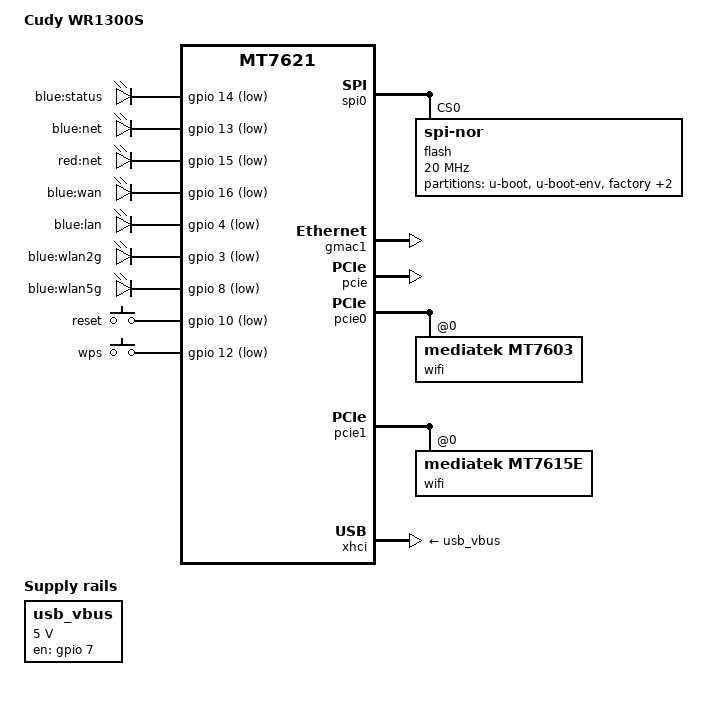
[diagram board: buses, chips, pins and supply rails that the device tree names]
/dts-v1/;

#include "mt7621.dtsi"
#include <dt-bindings/gpio/gpio.h>
#include <dt-bindings/input/input.h>

/ {
	compatible = "cudy,wr1300s", "mediatek,mt7621-soc";
	model = "Cudy WR1300S";

	aliases {
		led-boot = &led_status;
		led-failsafe = &led_status;
		led-running = &led_status;
		led-upgrade = &led_status;
	};

	leds {
		compatible = "gpio-leds";

		led_status: status {
			label = "blue:status";
			default-state = "on";
			gpios = <&gpio 14 GPIO_ACTIVE_LOW>;
		};

		net_blue {
			label = "blue:net";
			gpios = <&gpio 13 GPIO_ACTIVE_LOW>;
		};

		net_red {
			label = "red:net";
			gpios = <&gpio 15 GPIO_ACTIVE_LOW>;
		};

		wan {
			label = "blue:wan";
			gpios = <&gpio 16 GPIO_ACTIVE_LOW>;
		};

		lan {
			label = "blue:lan";
			gpios = <&gpio 4 GPIO_ACTIVE_LOW>;
		};

		wlan2g {
			label = "blue:wlan2g";
			gpios = <&gpio 3 GPIO_ACTIVE_LOW>;
			linux,default-trigger = "phy0tpt";
		};

		wlan5g {
			label = "blue:wlan5g";
			gpios = <&gpio 8 GPIO_ACTIVE_LOW>;
			linux,default-trigger = "phy1tpt";
		};
	};

	keys {
		compatible = "gpio-keys";

		reset {
			label = "reset";
			gpios = <&gpio 10 GPIO_ACTIVE_LOW>;
			linux,code = <KEY_RESTART>;
		};

		wps {
			label = "wps";
			gpios = <&gpio 12 GPIO_ACTIVE_LOW>;
			linux,code = <KEY_WPS_BUTTON>;
		};
	};

	usb_vbus: regulator {
		compatible = "regulator-fixed";
		regulator-name = "usb_vbus";
		regulator-min-microvolt = <5000000>;
		regulator-max-microvolt = <5000000>;
		gpio = <&gpio 7 GPIO_ACTIVE_HIGH>;
		enable-active-high;
	};
};

&spi0 {
	status = "okay";

	flash@0 {
		compatible = "jedec,spi-nor";
		reg = <0>;
		spi-max-frequency = <20000000>;

		partitions {
			compatible = "fixed-partitions";
			#address-cells = <1>;
			#size-cells = <1>;

			partition@0 {
				label = "u-boot";
				reg = <0x000000 0x030000>;
				read-only;
			};

			partition@30000 {
				label = "u-boot-env";
				reg = <0x030000 0x010000>;
				read-only;
			};

			factory: partition@40000 {
				label = "factory";
				reg = <0x040000 0x010000>;
				read-only;
			};

			partition@50000 {
				compatible = "denx,uimage";
				label = "firmware";
				reg = <0x050000 0xfa0000>;
			};

			bdinfo: partition@ff0000 {
				label = "bdinfo";
				reg = <0xff0000 0x010000>;
				read-only;
				compatible = "nvmem-cells";
				#address-cells = <1>;
				#size-cells = <1>;

				macaddr_base: macaddr@de00 {
					reg = <0xde00 0x6>;
				};
			};
		};
	};
};

&gmac0 {
	nvmem-cells = <&macaddr_base>;
	nvmem-cell-names = "mac-address";
};

&gmac1 {
	status = "okay";
	nvmem-cells = <&macaddr_base>;
	nvmem-cell-names = "mac-address";
	mac-address-increment = <1>;
};

&switch0 {
	ports {
		port@0 {
			status = "okay";
			label = "wan";
		};

		port@1 {
			status = "okay";
			label = "lan1";
		};

		port@2 {
			status = "okay";
			label = "lan2";
		};

		port@3 {
			status = "okay";
			label = "lan3";
		};

		port@4 {
			status = "okay";
			label = "lan4";
		};
	};
};

&pcie {
	status = "okay";
};

&pcie0 {
	status = "okay";

	wifi@0,0 {
		compatible = "mediatek,mt7603";
		reg = <0x0000 0 0 0 0>;
		mediatek,mtd-eeprom = <&factory 0x0000>;
		nvmem-cells = <&macaddr_base>;
		nvmem-cell-names = "mac-address";
	};
};

&pcie1 {
	status = "okay";

	wifi@0,0 {
		compatible = "mediatek,mt7615e";
		reg = <0x0000 0 0 0 0>;
		mediatek,mtd-eeprom = <&factory 0x8000>;
		nvmem-cells = <&macaddr_base>;
		nvmem-cell-names = "mac-address";
		mac-address-increment = <2>;
	};
};

&state_default {
	gpio {
		groups = "uart2", "uart3", "jtag", "wdt";
		function = "gpio";
	};
};

&xhci {
	vbus-supply = <&usb_vbus>;
	status = "okay";
};
